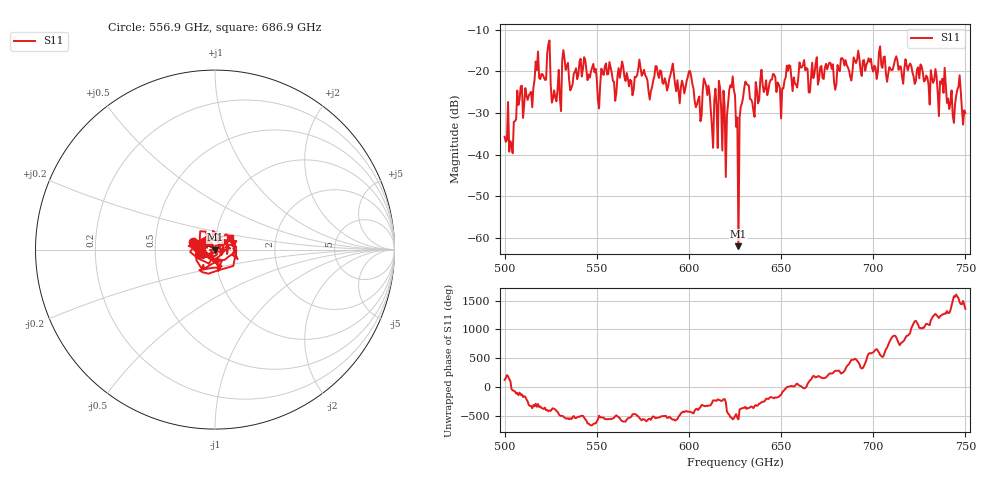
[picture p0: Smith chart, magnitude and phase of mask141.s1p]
!Created with skrf (http://scikit-rf.org).
# GHz S MA R 50.0
!freq magS11 angS11
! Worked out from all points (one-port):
!   401 points, 500 GHz to 750 GHz, reference 50 ohm
!   lowest |S11| = -62.0 dB at 626.9 GHz (marker M1), VSWR 1.00, Z = 49.9 + j0.0304 ohm
!   |S11| at or under -10 dB: start of sweep to end of sweep
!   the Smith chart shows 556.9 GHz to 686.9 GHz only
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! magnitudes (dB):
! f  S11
! 500 GHz  -35.7
! 503.8 GHz  -37.8
! 508.1 GHz  -26.7
! 513.8 GHz  -25.3
! 517.5 GHz  -19.7
! 523.8 GHz  -13.4
! 526.9 GHz  -24.5
! 531.2 GHz  -17.3
! 562.5 GHz  -21.5
! 593.8 GHz  -22.1
! 600.6 GHz  -19.9
! 605.6 GHz  -26.0
! 609.4 GHz  -23.4
! 612.5 GHz  -33.3
! 619.4 GHz  -28.4
! 622.5 GHz  -23.3
! 625 GHz  -25.7
! 625.6 GHz  -33.3
! 626.9 GHz  -62.0
! 631.2 GHz  -22.9
! 634.4 GHz  -27.5
! 656.2 GHz  -24.7
! 687.5 GHz  -21.3
! 718.8 GHz  -19.7
! 738.1 GHz  -25.1
! 742.5 GHz  -24.6
! 746.2 GHz  -23.7
! 750 GHz  -30.0
